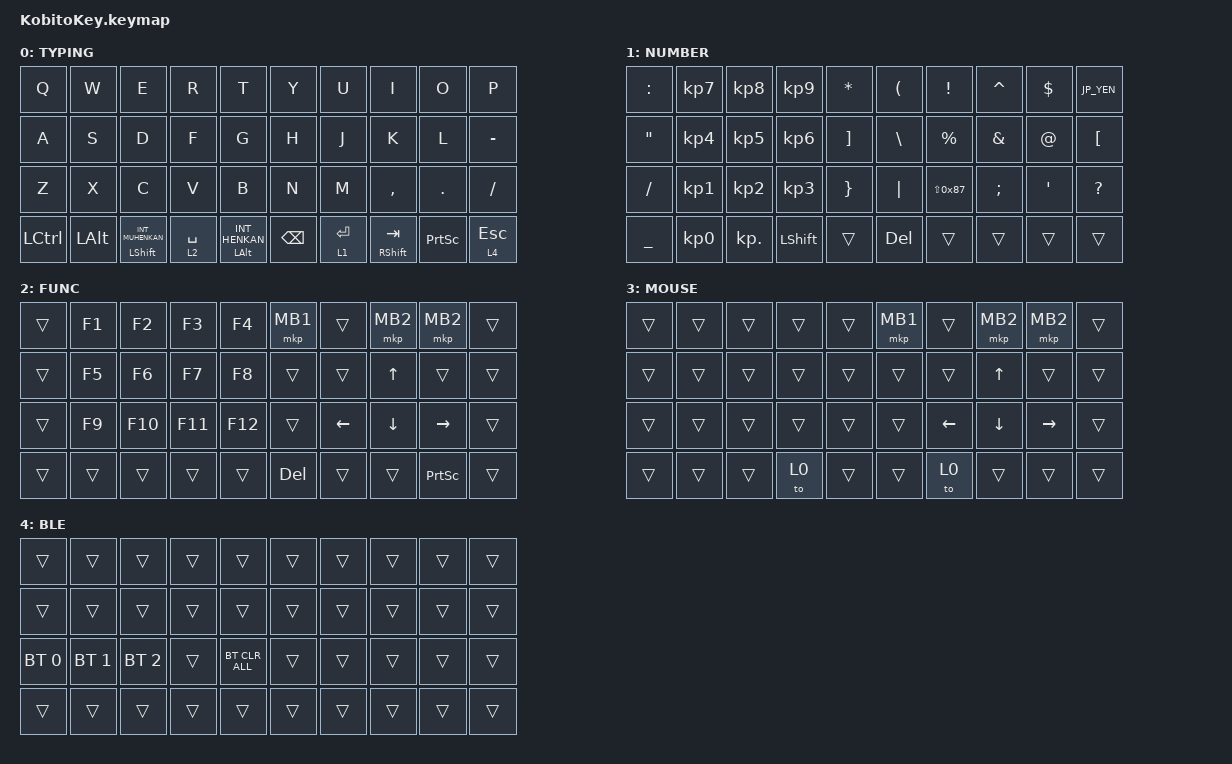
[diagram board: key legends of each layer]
#include <input/processors.dtsi>
#include <behaviors.dtsi>
#include <dt-bindings/zmk/bt.h>
#include <dt-bindings/zmk/keys.h>
#include <dt-bindings/zmk/pointing.h>

// OS設定を日本語キーボードのまま使用するための変換定義

#define JP_DQUOTE       AT                // "
#define JP_AMPERSAND    CARET             // &
#define JP_QUOTE        AMPERSAND         // '
#define JP_EQUAL        UNDER             // =
#define JP_CARET        EQUAL             // ^
#define JP_YEN          0x89              // ¥
#define JP_PLUS         COLON             // +
#define JP_TILDE        PLUS              // ~
#define JP_PIPE         LS(0x89)          // |
#define JP_AT           LEFT_BRACKET      // @
#define JP_COLON        SINGLE_QUOTE      // :
#define JP_ASTERISK     DOUBLE_QUOTES     // *
#define JP_BACKQUOTE    LEFT_BRACE        // `
#define JP_UNDERSCORE   LS(0x87)          // _
#define JP_LBRACKET     RIGHT_BRACKET     // [
#define JP_RBRACKET     BACKSLASH         // ]
#define JP_LPAREN       ASTERISK          // (
#define JP_RPAREN       LEFT_PARENTHESIS  // )
#define JP_LBRACE       RIGHT_BRACE       // {
#define JP_RBRACE       PIPE              // }
#define JP_KANA         LANGUAGE_1        // かな
#define JP_EISU         LANGUAGE_2        // 英数

/*マウスキーを押したらタイムアウトを延長する*/

&mkp_input_listener { input-processors = <&zip_temp_layer 3 250>; };

/ {
    combos {
        compatible = "zmk,combos";

        win {
            bindings = <&kp LEFT_WIN>;
            key-positions = <30 31>;
            timeout-ms = <50>;
        };
    };

    keymap {
        compatible = "zmk,keymap";

        default_layer {
            label = "TYPING";
            bindings = <
&kp Q      &kp W         &kp E                        &kp R        &kp T                    &kp Y     &kp U        &kp I                &kp O            &kp P
&kp A      &kp S         &kp D                        &kp F        &kp G                    &kp H     &kp J        &kp K                &kp L            &kp MINUS
&kp Z      &kp X         &kp C                        &kp V        &kp B                    &kp N     &kp M        &kp COMMA            &kp DOT          &kp SLASH
&kp LCTRL  &kp LEFT_ALT  &mt LEFT_SHIFT INT_MUHENKAN  &lt 2 SPACE  &mt LEFT_ALT INT_HENKAN  &kp BSPC  &lt 1 ENTER  &mt RIGHT_SHIFT TAB  &kp PRINTSCREEN  &lt 4 ESC
            >;
        };

        layer1 {
            label = "NUMBER";
            bindings = <
&kp JP_PLUS      &kp KP_NUMBER_7  &kp KP_NUMBER_8  &kp KP_NUMBER_9  &kp JP_LPAREN    &kp JP_RPAREN    &kp EXCLAMATION    &kp JP_AMPERSAND  &kp DOLLAR     &kp JP_YEN
&kp JP_ASTERISK  &kp KP_NUMBER_4  &kp KP_NUMBER_5  &kp KP_NUMBER_6  &kp JP_LBRACKET  &kp JP_RBRACKET  &kp PERCENT        &kp JP_QUOTE      &kp JP_DQUOTE  &kp JP_AT
&kp SLASH        &kp KP_NUMBER_1  &kp KP_NUMBER_2  &kp KP_NUMBER_3  &kp JP_LBRACE    &kp JP_RBRACE    &kp JP_UNDERSCORE  &kp SEMICOLON     &kp JP_COLON   &kp QUESTION
&kp JP_EQUAL     &kp KP_NUMBER_0  &kp KP_DOT       &kp LSHFT        &trans           &kp DEL          &trans             &trans            &trans         &trans
            >;
        };

        layer2 {
            label = "FUNC";
            bindings = <
&trans  &kp F1  &kp F2   &kp F3   &kp F4   &mkp MB1  &trans    &mkp MB2  &mkp MB2         &trans
&trans  &kp F5  &kp F6   &kp F7   &kp F8   &trans    &trans    &kp UP    &trans           &trans
&trans  &kp F9  &kp F10  &kp F11  &kp F12  &trans    &kp LEFT  &kp DOWN  &kp RIGHT        &trans
&trans  &trans  &trans   &trans   &trans   &kp DEL   &trans    &trans    &kp PRINTSCREEN  &trans
            >;
        };

        layer3 {
            label = "MOUSE";
            bindings = <
&trans  &trans  &trans  &trans  &trans  &mkp MB1  &trans    &mkp MB2  &mkp MB2   &trans
&trans  &trans  &trans  &trans  &trans  &trans    &trans    &kp UP    &trans     &trans
&trans  &trans  &trans  &trans  &trans  &trans    &kp LEFT  &kp DOWN  &kp RIGHT  &trans
&trans  &trans  &trans  &to 0   &trans  &trans    &to 0     &trans    &trans     &trans
            >;
        };

        layer_4 {
            label = "BLE";
            bindings = <
&trans        &trans        &trans        &trans  &trans          &trans  &trans  &trans  &trans  &trans
&trans        &trans        &trans        &trans  &trans          &trans  &trans  &trans  &trans  &trans
&bt BT_SEL 0  &bt BT_SEL 1  &bt BT_SEL 2  &trans  &bt BT_CLR_ALL  &trans  &trans  &trans  &trans  &trans
&trans        &trans        &trans        &trans  &trans          &trans  &trans  &trans  &trans  &trans
            >;
        };
    };
};
